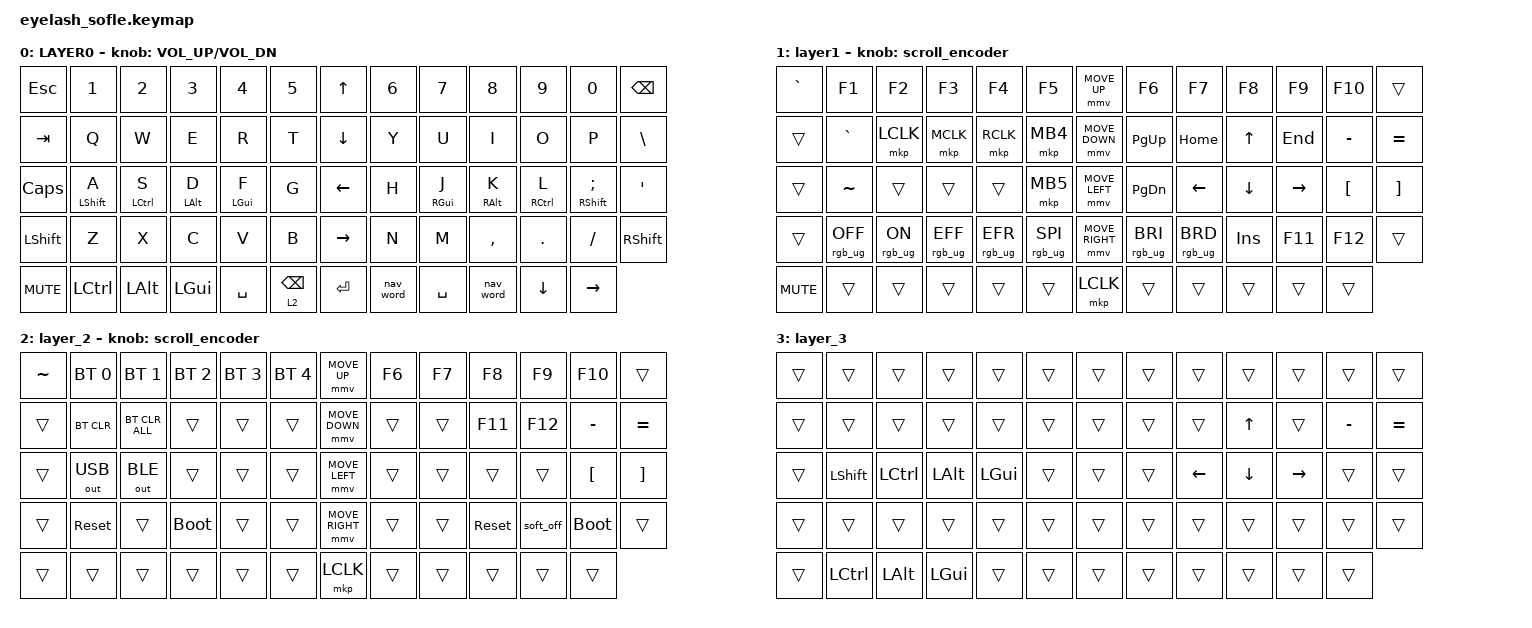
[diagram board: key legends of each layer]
#define ZMK_POINTING_DEFAULT_MOVE_VAL 1200  // 600
#define ZMK_POINTING_DEFAULT_SCRL_VAL 25   // 10

#include <input/processors.dtsi>
#include <zephyr/dt-bindings/input/input-event-codes.h>
#include <behaviors.dtsi>
#include <dt-bindings/zmk/bt.h>
#include <dt-bindings/zmk/keys.h>
#include <dt-bindings/zmk/outputs.h>
#include <dt-bindings/zmk/pointing.h>
#include <dt-bindings/zmk/rgb.h>

&mmv_input_listener { input-processors = <&zip_xy_scaler 2 1>; };

&msc_input_listener { input-processors = <&zip_scroll_scaler 2 1>; };

&msc {
    acceleration-exponent = <1>;      // 0
    time-to-max-speed-ms = <100>;       // 300
    delay-ms = <0>;                   // 0
};

&mmv {
    time-to-max-speed-ms = <500>;
    acceleration-exponent = <1>;
    trigger-period-ms = <16>;
};

&soft_off { hold-time-ms = <2000>; };

/ {
    scroll_encoder: scroll_encoder {
        compatible = "zmk,behavior-sensor-rotate";
        #sensor-binding-cells = <0>;
        bindings = <&msc SCRL_DOWN>, <&msc SCRL_UP>;

        tap-ms = <100>;
    };

    HMR: HMR {
        compatible = "zmk,behavior-hold-tap";
        label = "HMR";
        bindings = <&kp>, <&kp>;

        #binding-cells = <2>;
        tapping-term-ms = <280>;
        quick-tap-ms = <175>;
        flavor = "tap-preferred";
        hold-trigger-key-positions = <5 0 1 2 3 4 5 13 14 15 16 17 18 26 27 28 29 30 31 39 40 41 42 43 44 53 54 55 56 57 60 59 61 62 63>;
        hold-trigger-on-release;
        require-prior-idle-ms = <175>;
    };

    HML: HML {
        compatible = "zmk,behavior-hold-tap";
        label = "HML";
        bindings = <&kp>, <&kp>;

        #binding-cells = <2>;
        tapping-term-ms = <280>;
        quick-tap-ms = <175>;
        flavor = "tap-preferred";
        hold-trigger-key-positions = <7 8 9 10 11 12 20 21 22 23 24 25 33 34 35 36 37 38 46 47 48 49 50 51 60 61 62 63 59 57 56 55 54 53>;
        hold-trigger-on-release;
        require-prior-idle-ms = <175>;
    };

    behaviors {
        nav_word: nav_word {
            compatible = "zmk,behavior-auto-layer";
            #binding-cells = <0>;
            layers = <3>;   // or <NAV> if you’ve defined a NAV constant
            continue-list = <LEFT DOWN RIGHT UP>;
            ignore-modifiers;
        };

        new_behavior: new_behavior {
            compatible = "zmk,behavior-auto-layer";
            #binding-cells = <0>;
            layers = <3>;
            continue-list = <LEFT DOWN RIGHT UP>;
            ignore-modifiers;
            label = "NEW_BEHAVIOR";
        };
    };

    combos {
        compatible = "zmk,combos";

        softoff {
            bindings = <&soft_off>;
            key-positions = <14 28 40>;
        };

        leftbr {
            bindings = <&kp LEFT_BRACKET>;
            key-positions = <23 24>;
        };

        rightbr {
            bindings = <&kp RIGHT_BRACKET>;
            key-positions = <24 25>;
        };

        enter {
            bindings = <&kp ENTER>;
            key-positions = <47 48>;
        };

        backspace {
            bindings = <&kp BACKSPACE>;
            key-positions = <21 22>;
        };

        layer1 {
            bindings = <&mo 1>;
            key-positions = <57 59>;
        };

        minus {
            bindings = <&kp MINUS>;
            key-positions = <10 11>;
        };

        equal {
            bindings = <&kp EQUAL>;
            key-positions = <11 12>;
        };

        up_key {
            bindings = <&kp UP_ARROW>;
            key-positions = <61 62 63>;
        };
    };

    keymap {
        compatible = "zmk,keymap";

        layer0 {
            bindings = <
&kp ESC     &kp N1             &kp N2               &kp N3           &kp N4           &kp N5             &kp UP_ARROW     &kp N6     &kp N7            &kp N8            &kp N9                &kp N0                 &kp BACKSPACE
&kp TAB     &kp Q              &kp W                &kp E            &kp R            &kp T              &kp DOWN_ARROW   &kp Y      &kp U             &kp I             &kp O                 &kp P                  &kp BSLH
&kp CAPS    &HML LEFT_SHIFT A  &HML LEFT_CONTROL S  &HML LEFT_ALT D  &HML LEFT_GUI F  &kp G              &kp LEFT_ARROW   &kp H      &HMR RIGHT_GUI J  &HMR RIGHT_ALT K  &HMR RIGHT_CONTROL L  &HMR RIGHT_SHIFT SEMI  &kp APOS
&kp LSHFT   &kp Z              &kp X                &kp C            &kp V            &kp B              &kp RIGHT_ARROW  &kp N      &kp M             &kp COMMA         &kp DOT               &kp FSLH               &kp RIGHT_SHIFT
&kp C_MUTE  &kp LCTRL          &kp LEFT_ALT         &kp LEFT_GUI     &kp SPACE        &lt 2 BACKSPACE    &kp ENTER        &nav_word  &kp SPACE         &nav_word         &kp DOWN_ARROW        &kp RIGHT_ARROW
            >;

            sensor-bindings = <&inc_dec_kp C_VOLUME_UP C_VOL_DN>;
            display-name = "LAYER0";
        };

        layer_1 {
            bindings = <
&kp GRAVE   &kp F1           &kp F2          &kp F3           &kp F4           &kp F5             &mmv MOVE_UP     &kp F6           &kp F7           &kp F8      &kp F9     &kp F10           &trans
&trans      &kp GRAVE        &mkp LCLK       &mkp MCLK        &mkp RCLK        &mkp MB4           &mmv MOVE_DOWN   &kp PG_UP        &kp HOME         &kp UP      &kp END    &kp MINUS         &kp EQUAL
&trans      &kp TILDE        &trans          &trans           &trans           &mkp MB5           &mmv MOVE_LEFT   &kp PG_DN        &kp LEFT         &kp DOWN    &kp RIGHT  &kp LEFT_BRACKET  &kp RIGHT_BRACKET
&trans      &rgb_ug RGB_OFF  &rgb_ug RGB_ON  &rgb_ug RGB_EFF  &rgb_ug RGB_EFR  &rgb_ug RGB_SPI    &mmv MOVE_RIGHT  &rgb_ug RGB_BRI  &rgb_ug RGB_BRD  &kp INSERT  &kp F11    &kp F12           &trans
&kp C_MUTE  &trans           &trans          &trans           &trans           &trans             &mkp LCLK        &trans           &trans           &trans      &trans     &trans
            >;

            display-name = "layer1";
            sensor-bindings = <&scroll_encoder>;
        };

        layer_2 {
            bindings = <
&kp TILDE  &bt BT_SEL 0  &bt BT_SEL 1    &bt BT_SEL 2  &bt BT_SEL 3  &bt BT_SEL 4    &mmv MOVE_UP     &kp F6  &kp F7  &kp F8      &kp F9     &kp F10           &trans
&trans     &bt BT_CLR    &bt BT_CLR_ALL  &trans        &trans        &trans          &mmv MOVE_DOWN   &trans  &trans  &kp F11     &kp F12    &kp MINUS         &kp EQUAL
&trans     &out OUT_USB  &out OUT_BLE    &trans        &trans        &trans          &mmv MOVE_LEFT   &trans  &trans  &trans      &trans     &kp LEFT_BRACKET  &kp RIGHT_BRACKET
&trans     &sys_reset    &trans          &bootloader   &trans        &trans          &mmv MOVE_RIGHT  &trans  &trans  &sys_reset  &soft_off  &bootloader       &trans
&trans     &trans        &trans          &trans        &trans        &trans          &mkp LCLK        &trans  &trans  &trans      &trans     &trans
            >;

            sensor-bindings = <&scroll_encoder>;
        };

        layer_3 {
            bindings = <
&trans  &trans            &trans            &trans        &trans        &trans    &trans  &trans  &trans    &trans    &trans     &trans     &trans
&trans  &trans            &trans            &trans        &trans        &trans    &trans  &trans  &trans    &kp UP    &trans     &kp MINUS  &kp EQUAL
&trans  &kp LEFT_SHIFT    &kp LEFT_CONTROL  &kp LEFT_ALT  &kp LEFT_GUI  &trans    &trans  &trans  &kp LEFT  &kp DOWN  &kp RIGHT  &trans     &trans
&trans  &trans            &trans            &trans        &trans        &trans    &trans  &trans  &trans    &trans    &trans     &trans     &trans
&trans  &kp LEFT_CONTROL  &kp LEFT_ALT      &kp LEFT_GUI  &trans        &trans    &trans  &trans  &trans    &trans    &trans     &trans
            >;
        };
    };
};
